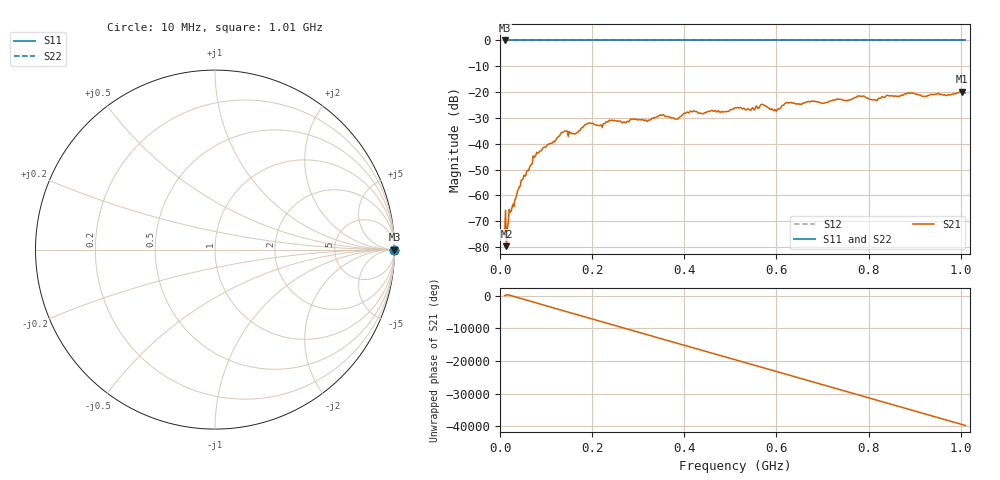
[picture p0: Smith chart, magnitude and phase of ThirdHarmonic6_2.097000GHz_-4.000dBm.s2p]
! 8/17/2025 1:05:23 AM
! C:\ANRITSUVNA\TEMP\TEMP.S2P
! CHANNEL.1
! TR.MEASUREMENT
! RAW.DATA
! RF.CORRECTION.OFF
! AVERAGING.OFF
! IF.BANDWIDTH: 5KHZ
! SWEEPTYPE:  FREQ.SWEEP(Linear)
! Reference Plane Port Info
! PORT:  PORT1  PORT2
! DISTANCE:  0  m  0  m
! TIME:  0  s  0  s
! PHASE.OFFSET:  0  deg.  0  deg.
! LOSS:  0  dB  0  dB
! REF.LOSS:  0  dB  0  dB
! REF.FREQ:  0  Hz  0  Hz
! Power Info
! POWER:  -20  dBm  -20  dBm
! EFF.POWER:  -20  dBm  -20  dBm
! SOURCE.ATTEN:  0  dB  0  dB
! TEST.ATTEN:  0  dB  0  dB
# GHZ S RI R 50.0
! FREQ.GHZ  S11RE  S11IM  S21RE  S21IM  S12RE  S12IM  S22RE  S22IM
!; PortSelection: Port_12
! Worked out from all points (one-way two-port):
!   501 points, 10 MHz to 1.01 GHz, reference 50 ohm
!   highest |S21| = -19.83 dB at 1.002 GHz (marker M1); lowest = -79.7 dB at 14 MHz (marker M2)
!   lowest |S11| = 0.0 dB at 10 MHz (marker M3)
!   |S11| at or under -10 dB: nowhere
!   |S22| runs from 0.0 to 0.0 dB; largest |S21 - S12| = 1.1
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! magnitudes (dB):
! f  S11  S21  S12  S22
! 10 MHz  0.0  -75.4  0.0  0.0
! 14 MHz  0.0  -79.7  0.0  0.0
! 24 MHz  0.0  -66.2  0.0  0.0
! 42 MHz  0.0  -56.6  0.0  0.0
! 76 MHz  0.0  -44.9  0.0  0.0
! 136 MHz  0.0  -35.5  0.0  0.0
! 162 MHz  0.0  -36.2  0.0  0.0
! 178 MHz  0.0  -33.7  0.0  0.0
! 194 MHz  0.0  -32.0  0.0  0.0
! 344 MHz  0.0  -29.3  0.0  0.0
! 384 MHz  0.0  -30.4  0.0  0.0
! 416 MHz  0.0  -27.6  0.0  0.0
! 510 MHz  0.0  -26.0  0.0  0.0
! 570 MHz  0.0  -24.8  0.0  0.0
! 596 MHz  0.0  -26.7  0.0  0.0
! 622 MHz  0.0  -24.2  0.0  0.0
! 678 MHz  0.0  -23.5  0.0  0.0
! 780 MHz  0.0  -21.6  0.0  0.0
! 814 MHz  0.0  -23.0  0.0  0.0
! 844 MHz  0.0  -21.5  0.0  0.0
! 1.002 GHz  0.0  -19.8  0.0  0.0
! 1.01 GHz  0.0  -20.4  0.0  0.0
